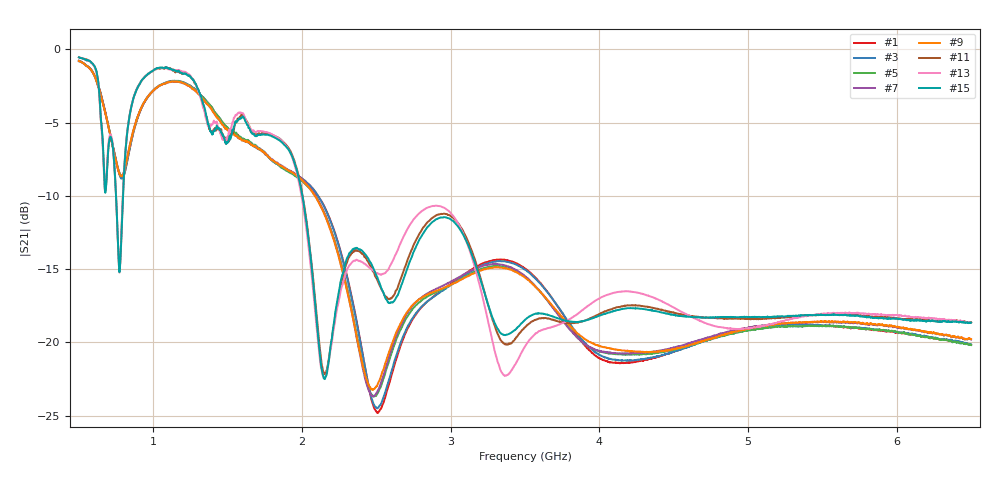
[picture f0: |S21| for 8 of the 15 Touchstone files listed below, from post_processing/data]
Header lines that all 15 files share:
# Hz S DB R 50
! CMT, S5065, 24347010, 24.3.4/3
! Data: Format (Calibration Info)
! Freq	S11:dB/Ang(F2)	S21:dB/Ang(F2)	S12:dB/Ang(F2)	S22:dB/Ang(F2)
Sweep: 500 MHz to 6.5 GHz
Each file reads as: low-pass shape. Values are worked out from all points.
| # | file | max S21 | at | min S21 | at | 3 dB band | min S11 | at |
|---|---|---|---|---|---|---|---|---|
| 1 | baseline m1.s2p | -0.79 dB | 500 MHz | -24.8 dB | 2.51 GHz | 931.4 MHz-1.38 GHz | -24.7 dB | 674.6 MHz |
| 2 | baseline m2.s2p | -0.78 dB | 500 MHz | -24.6 dB | 2.506 GHz | 932 MHz-1.378 GHz | -24.6 dB | 674.6 MHz |
| 3 | baseline m3.s2p | -0.78 dB | 500 MHz | -24.5 dB | 2.508 GHz | 930.2 MHz-1.377 GHz | -24.0 dB | 674 MHz |
| 4 | condition 1 m1.s2p | -0.81 dB | 500 MHz | -23.9 dB | 2.484 GHz | 929.6 MHz-1.379 GHz | -25.0 dB | 672.2 MHz |
| 5 | condition 1 m2.s2p | -0.81 dB | 503 MHz | -23.7 dB | 2.484 GHz | 929.6 MHz-1.379 GHz | -24.8 dB | 672.8 MHz |
| 6 | condition 1 m3.s2p | -0.80 dB | 500.6 MHz | -23.6 dB | 2.484 GHz | 929.6 MHz-1.378 GHz | -24.8 dB | 672.8 MHz |
| 7 | condition 2 m1.s2p | -0.80 dB | 500 MHz | -23.7 dB | 2.472 GHz | 929 MHz-1.367 GHz | -25.2 dB | 672.8 MHz |
| 8 | condition 2 m2.s2p | -0.80 dB | 500 MHz | -23.3 dB | 2.473 GHz | 928.4 MHz-1.368 GHz | -25.0 dB | 672.2 MHz |
| 9 | condition 2 m3.s2p | -0.80 dB | 500.6 MHz | -23.3 dB | 2.473 GHz | 928.4 MHz-1.368 GHz | -25.1 dB | 673.4 MHz |
| 10 | validation end m1.s2p | -0.55 dB | 500.6 MHz | -22.2 dB | 2.155 GHz | 861.2 MHz-1.33 GHz | -52.6 dB | 1.158 GHz |
| 11 | validation end m2.s2p | -0.54 dB | 500 MHz | -22.2 dB | 2.158 GHz | 861.2 MHz-1.327 GHz | -57.8 dB | 1.158 GHz |
| 12 | validation end m3.s2p | -0.54 dB | 500 MHz | -22.2 dB | 2.158 GHz | 861.2 MHz-1.327 GHz | -57.3 dB | 1.158 GHz |
| 13 | validation start m1.s2p | -0.55 dB | 500 MHz | -22.5 dB | 2.15 GHz | 861.8 MHz-1.325 GHz | -46.5 dB | 1.155 GHz |
| 14 | validation start m2.s2p | -0.55 dB | 500 MHz | -22.3 dB | 2.147 GHz | 861.8 MHz-1.325 GHz | -46.4 dB | 1.155 GHz |
| 15 | validation start m3.s2p | -0.55 dB | 500 MHz | -22.5 dB | 2.153 GHz | 861.2 MHz-1.33 GHz | -39.8 dB | 1.161 GHz |
